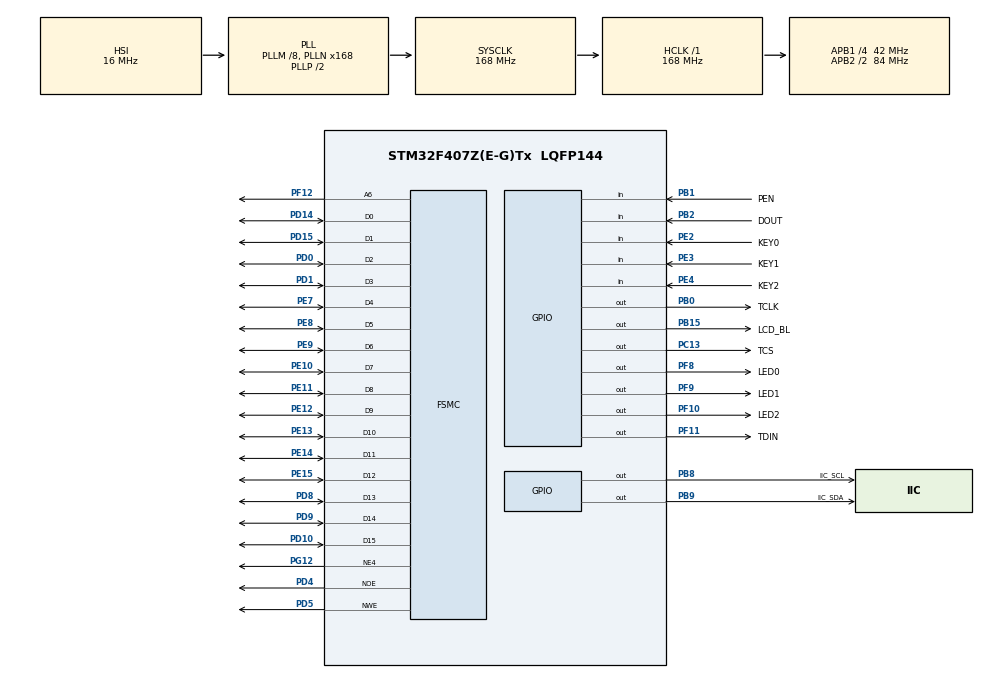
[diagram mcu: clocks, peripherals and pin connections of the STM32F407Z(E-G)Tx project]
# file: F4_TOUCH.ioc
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Mcu.Family=STM32F4
FSMC.AddressSetupTime1=0x0f
PE7.GPIO_PuPd=GPIO_PULLUP
PH0-OSC_IN.Signal=RCC_OSC_IN
PF10.GPIO_ModeDefaultOutputPP=GPIO_MODE_OUTPUT_PP
RCC.CortexFreq_Value=168000000
SH.FSMC_D1_DA1.0=FSMC_D1,16b-d1
SH.FSMC_A6.0=FSMC_A6,A6_1
SH.FSMC_NWE.0=FSMC_NWE,Lcd1
PE8.GPIO_PuPd=GPIO_PULLUP
SH.FSMC_D0_DA0.0=FSMC_D0,16b-d1
PE10.GPIO_PuPd=GPIO_PULLUP
PF9.GPIO_Speed=GPIO_SPEED_FREQ_VERY_HIGH
PB0.GPIO_Label=TCLK
PD10.GPIO_PuPd=GPIO_PULLUP
FSMC.ExtendedBusTurnAroundDuration1=0
PD8.GPIO_PuPd=GPIO_PULLUP
PF10.GPIO_PuPd=GPIO_PULLUP
PB15.Signal=GPIO_Output
PF8.PinState=GPIO_PIN_SET
RCC.SYSCLKSource=RCC_SYSCLKSOURCE_PLLCLK
ProjectManager.StackSize=0x400
PE11.GPIO_PuPd=GPIO_PULLUP
PB1.GPIO_PuPd=GPIO_PULLUP
RCC.HCLKFreq_Value=168000000
PD4.Signal=FSMC_NOE
RCC.APB2TimFreq_Value=168000000
PF11.GPIO_Label=TDIN
PF12.Signal=FSMC_A6
PD0.Signal=FSMC_D2_DA2
PD8.Signal=FSMC_D13_DA13
PF10.GPIO_Label=LED2
RCC.AHBFreq_Value=168000000
PH0-OSC_IN.Mode=HSE-External-Oscillator
RCC.HSE_VALUE=25000000
PB2.Signal=GPIO_Input
PC13-ANTI_TAMP.Signal=GPIO_Output
PE13.GPIO_PuPd=GPIO_PULLUP
PE13.Signal=FSMC_D10_DA10
SH.FSMC_D14_DA14.0=FSMC_D14,16b-d1
SH.FSMC_D10_DA10.0=FSMC_D10,16b-d1
PF8.GPIO_ModeDefaultOutputPP=GPIO_MODE_OUTPUT_PP
PF8.GPIO_PuPd=GPIO_PULLUP
PE9.Signal=FSMC_D6_DA6
PA14.Mode=Serial_Wire
PF11.Signal=GPIO_Output
PB1.GPIO_Label=PEN
SH.FSMC_D6_DA6.0=FSMC_D6,16b-d1
PE4.GPIO_Label=KEY2
PE2.Signal=GPIO_Input
PD14.GPIO_PuPd=GPIO_PULLUP
FSMC.BusTurnAroundDuration1=0
PE4.Signal=GPIO_Input
PE10.Signal=FSMC_D7_DA7
SH.FSMC_D5_DA5.0=FSMC_D5,16b-d1
PB2.GPIO_PuPd=GPIO_PULLUP
SH.FSMC_D4_DA4.0=FSMC_D4,16b-d1
PH1-OSC_OUT.Mode=HSE-External-Oscillator
Mcu.Package=LQFP144
PB9.Signal=GPIO_Output
PB1.Signal=GPIO_Input
PB15.GPIO_PuPd=GPIO_PULLUP
PD15.GPIO_PuPd=GPIO_PULLUP
SH.FSMC_D13_DA13.0=FSMC_D13,16b-d1
PB9.GPIO_PuPd=GPIO_PULLUP
PF8.Signal=GPIO_Output
RCC.APB2CLKDivider=RCC_HCLK_DIV2
PB9.GPIO_Speed=GPIO_SPEED_FREQ_VERY_HIGH
SH.FSMC_D3_DA3.0=FSMC_D3,16b-d1
PG12.GPIO_PuPd=GPIO_PULLUP
RCC.APB1TimFreq_Value=84000000
SH.FSMC_D2_DA2.0=FSMC_D2,16b-d1
PE7.Signal=FSMC_D4_DA4
PF9.GPIO_PuPd=GPIO_PULLUP
PD9.GPIO_PuPd=GPIO_PULLUP
PE2.GPIO_Label=KEY0
PD15.Signal=FSMC_D1_DA1
PE12.GPIO_PuPd=GPIO_PULLUP
PG12.Signal=FSMC_NE4
FSMC.ExtendedAddressSetupTime1=9
SH.FSMC_D12_DA12.0=FSMC_D12,16b-d1
PB9.GPIO_Label=IIC_SDA
PC13-ANTI_TAMP.GPIO_Label=TCS
FSMC.ExtendedMode1=FSMC_EXTENDED_MODE_ENABLE
PB8.GPIO_PuPd=GPIO_PULLUP
PF10.GPIO_Speed=GPIO_SPEED_FREQ_VERY_HIGH
PD1.Signal=FSMC_D3_DA3
SH.FSMC_D9_DA9.0=FSMC_D9,16b-d1
PD9.Signal=FSMC_D14_DA14
PD5.Signal=FSMC_NWE
PD1.GPIO_PuPd=GPIO_PULLUP
RCC.APB1CLKDivider=RCC_HCLK_DIV4
SH.FSMC_D8_DA8.0=FSMC_D8,16b-d1
PF8.GPIO_Label=LED0
PB0.GPIO_Speed=GPIO_SPEED_FREQ_VERY_HIGH
PF11.GPIO_Speed=GPIO_SPEED_FREQ_VERY_HIGH
PD10.Signal=FSMC_D15_DA15
PA13.Signal=SYS_JTMS-SWDIO
PB8.GPIO_Label=IIC_SCL
PD4.GPIO_PuPd=GPIO_PULLUP
ProjectManager.TargetToolchain=STM32CubeIDE
FSMC.DataSetupTime1=60
PF9.PinState=GPIO_PIN_SET
PB1.GPIO_Mode=GPIO_MODE_INPUT
PF9.GPIO_Label=LED1
PE11.Signal=FSMC_D8_DA8
RCC.LSE_VALUE=32768
PE2.GPIO_PuPd=GPIO_PULLUP
SH.FSMC_D7_DA7.0=FSMC_D7,16b-d1
FSMC.ExtendedDataSetupTime1=8
board=custom
PG12.Mode=NorPsramChipSelect4_1
RCC.VCOOutputFreq_Value=336000000
RCC.APB2Freq_Value=84000000
PE14.Signal=FSMC_D11_DA11
PE15.Signal=FSMC_D12_DA12
PB15.GPIO_Label=LCD_BL
PE8.Signal=FSMC_D5_DA5
PF10.Signal=GPIO_Output
PB15.GPIO_Speed=GPIO_SPEED_FREQ_MEDIUM
PH1-OSC_OUT.Signal=RCC_OSC_OUT
PE3.GPIO_PuPd=GPIO_PULLUP
PD5.GPIO_PuPd=GPIO_PULLUP
PE14.GPIO_PuPd=GPIO_PULLUP
PA13.Mode=Serial_Wire
Mcu.Name=STM32F407Z(E-G)Tx
PE12.Signal=FSMC_D9_DA9
PE4.GPIO_PuPd=GPIO_PULLUP
PD14.Signal=FSMC_D0_DA0
RCC.48MHZClocksFreq_Value=84000000
RCC.SYSCLKFreq_VALUE=168000000
SH.FSMC_D15_DA15.0=FSMC_D15,16b-d1
PA14.Signal=SYS_JTCK-SWCLK
PB2.GPIO_Label=DOUT
PE15.GPIO_PuPd=GPIO_PULLUP
ProjectManager.HeapSize=0x200
SH.FSMC_D11_DA11.0=FSMC_D11,16b-d1
PD0.GPIO_PuPd=GPIO_PULLUP
SH.FSMC_NOE.0=FSMC_NOE,Lcd1
PF9.Signal=GPIO_Output
RCC.HSI_VALUE=16000000
PF9.GPIO_ModeDefaultOutputPP=GPIO_MODE_OUTPUT_PP
NVIC.PriorityGroup=NVIC_PRIORITYGROUP_4
RCC.PLLM=8
RCC.PLLN=168
PF8.GPIO_Speed=GPIO_SPEED_FREQ_VERY_HIGH
PE3.Signal=GPIO_Input
PF12.GPIO_PuPd=GPIO_PULLUP
PB8.Signal=GPIO_Output
PE3.GPIO_Label=KEY1
RCC.APB1Freq_Value=42000000
PB8.GPIO_Speed=GPIO_SPEED_FREQ_VERY_HIGH
PF10.PinState=GPIO_PIN_SET
PB0.Signal=GPIO_Output
PB0.GPIO_PuPd=GPIO_PULLUP
PE9.GPIO_PuPd=GPIO_PULLUP

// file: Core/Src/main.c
/* USER CODE BEGIN Header */
/**
  ******************************************************************************
  * @file           : main.c
  * @brief          : Main program body
  ******************************************************************************
  * @attention
  *
  * <h2><center>&copy; Copyright (c) 2021 STMicroelectronics.
  * All rights reserved.</center></h2>
  *
  * This software component is licensed by ST under BSD 3-Clause license,
  * the "License"; You may not use this file except in compliance with the
  * License. You may obtain a copy of the License at:
  *                        opensource.org/licenses/BSD-3-Clause
  *
  ******************************************************************************
  */
/* USER CODE END Header */
#include "main.h"
#include "gpio.h"
#include "fsmc.h"

/* USER CODE BEGIN Includes */
#include "base.h"
#include "lcd.h"
#include "touch.h"
/* USER CODE END Includes */

void SystemClock_Config(void);
/* USER CODE BEGIN PFP */
void Load_Drow_Dialog(void)
{
	LCD_Clear(WHITE);
 	POINT_COLOR=BLUE;
	LCD_ShowString(lcddev.width-24,0,200,16,16,"RST");
  	POINT_COLOR=RED;
}

void gui_draw_hline(u16 x0,u16 y0,u16 len,u16 color)
{
	if(len==0)return;
	LCD_Fill(x0,y0,x0+len-1,y0,color);
}

void gui_fill_circle(u16 x0,u16 y0,u16 r,u16 color)
{
	u32 i;
	u32 imax = ((u32)r*707)/1000+1;
	u32 sqmax = (u32)r*(u32)r+(u32)r/2;
	u32 x=r;
	gui_draw_hline(x0-r,y0,2*r,color);
	for (i=1;i<=imax;i++)
	{
		if ((i*i+x*x)>sqmax)// draw lines from outside
		{
 			if (x>imax)
			{
				gui_draw_hline (x0-i+1,y0+x,2*(i-1),color);
				gui_draw_hline (x0-i+1,y0-x,2*(i-1),color);
			}
			x--;
		}
		// draw lines from inside (center)
		gui_draw_hline(x0-x,y0+i,2*x,color);
		gui_draw_hline(x0-x,y0-i,2*x,color);
	}
}

u16 my_abs(u16 x1,u16 x2)
{
	if(x1>x2)return x1-x2;
	else return x2-x1;
}

void lcd_draw_bline(u16 x1, u16 y1, u16 x2, u16 y2,u8 size,u16 color)
{
	u16 t;
	int xerr=0,yerr=0,delta_x,delta_y,distance;
	int incx,incy,uRow,uCol;
	if(x1<size|| x2<size||y1<size|| y2<size)return;
	delta_x=x2-x1;
	delta_y=y2-y1;
	uRow=x1;
	uCol=y1;
	if(delta_x>0)incx=1;
	else if(delta_x==0)incx=0;
	else {incx=-1;delta_x=-delta_x;}
	if(delta_y>0)incy=1;
	else if(delta_y==0)incy=0;
	else{incy=-1;delta_y=-delta_y;}
	if( delta_x>delta_y)distance=delta_x;
	else distance=delta_y;
	for(t=0;t<=distance+1;t++ )
	{
		gui_fill_circle(uRow,uCol,size,color);
		xerr+=delta_x ;
		yerr+=delta_y ;
		if(xerr>distance)
		{
			xerr-=distance;
			uRow+=incx;
		}
		if(yerr>distance)
		{
			yerr-=distance;
			uCol+=incy;
		}
	}
}

const u16 POINT_COLOR_TBL[OTT_MAX_TOUCH]={RED,GREEN,BLUE,BROWN,GRED};
void rtp_test(void)
{
	u8 key;
	u8 i=0;
	while(1)
	{
	 	key=KEY_Scan(0);
		tp_dev.scan(0);
		if(tp_dev.sta&TP_PRES_DOWN)
		{
		 	if(tp_dev.x[0]<lcddev.width&&tp_dev.y[0]<lcddev.height)
			{
				if(tp_dev.x[0]>(lcddev.width-24)&&tp_dev.y[0]<16)Load_Drow_Dialog();
				else TP_Draw_Big_Point(tp_dev.x[0],tp_dev.y[0],RED);
			}
		}else delay_ms(10);
		if(key==KEY0_PRES)
		{
			LCD_Clear(WHITE);
		    TP_Adjust();
			TP_Save_Adjdata();
			Load_Drow_Dialog();
		}
		i++;
		if(i%20==0)LED0_T;
	}
}
void ctp_test(void)
{
	u8 t=0;
	u8 i=0;
 	u16 lastpos[5][2];
	while(1)
	{
		tp_dev.scan(0);
		for(t=0;t<5;t++)
		{
			if((tp_dev.sta)&(1<<t))
			{
				if(tp_dev.x[t]<lcddev.width&&tp_dev.y[t]<lcddev.height)
				{
					if(lastpos[t][0]==0XFFFF)
					{
						lastpos[t][0] = tp_dev.x[t];
						lastpos[t][1] = tp_dev.y[t];
					}
					lcd_draw_bline(lastpos[t][0],lastpos[t][1],tp_dev.x[t],tp_dev.y[t],2,POINT_COLOR_TBL[t]);//闁汇垼宕甸崵�??
					lastpos[t][0]=tp_dev.x[t];
					lastpos[t][1]=tp_dev.y[t];
					if(tp_dev.x[t]>(lcddev.width-24)&&tp_dev.y[t]<20)
					{
						Load_Drow_Dialog();
					}
				}
			}else lastpos[t][0]=0XFFFF;
		}

		delay_ms(5);i++;
		if(i%20==0)LED0_T;
	}
}
/* USER CODE END PFP */

int main(void)
{

  /* MCU Configuration--------------------------------------------------------*/

  /* Reset of all peripherals, Initializes the Flash interface and the Systick. */
  HAL_Init();

  /* Configure the system clock */
  SystemClock_Config();

  /* Initialize all configured peripherals */
  MX_GPIO_Init();
  MX_FSMC_Init();
  /* USER CODE BEGIN 2 */
  delay_init(168);
  LCD_Init();
  tp_dev.init();

  POINT_COLOR=RED;
  LCD_ShowString(30,40,210,24,24,(uint8_t *)"MINI STM32F4");
  LCD_ShowString(30,70,200,16,16,(uint8_t *)"TFTLCD TEST");
  LCD_ShowString(30,90,200,16,16,(uint8_t *)"ATOM@ALIENTEK");
  LCD_ShowString(30,110,200,16,16,(uint8_t *)"The First Test");
  LCD_ShowString(30,130,200,12,12,(uint8_t *)"2021/4/8");

  if(tp_dev.touchtype!=0XFF)LCD_ShowString(30,130,200,16,16,"Press KEY0 to Adjust");
  delay_ms(1500);
  Load_Drow_Dialog();

  if(tp_dev.touchtype&0X80)ctp_test();
  else rtp_test();
  /* USER CODE END 2 */

  /* Infinite loop */
  while (1)
  {

  }
}

void SystemClock_Config(void)
{
  RCC_OscInitTypeDef RCC_OscInitStruct = {0};
  RCC_ClkInitTypeDef RCC_ClkInitStruct = {0};

  /** Configure the main internal regulator output voltage
  */
  __HAL_RCC_PWR_CLK_ENABLE();
  __HAL_PWR_VOLTAGESCALING_CONFIG(PWR_REGULATOR_VOLTAGE_SCALE1);
  /** Initializes the RCC Oscillators according to the specified parameters
  * in the RCC_OscInitTypeDef structure.
  */
  RCC_OscInitStruct.OscillatorType = RCC_OSCILLATORTYPE_HSI;
  RCC_OscInitStruct.HSIState = RCC_HSI_ON;
  RCC_OscInitStruct.HSICalibrationValue = RCC_HSICALIBRATION_DEFAULT;
  RCC_OscInitStruct.PLL.PLLState = RCC_PLL_ON;
  RCC_OscInitStruct.PLL.PLLSource = RCC_PLLSOURCE_HSI;
  RCC_OscInitStruct.PLL.PLLM = 8;
  RCC_OscInitStruct.PLL.PLLN = 168;
  RCC_OscInitStruct.PLL.PLLP = RCC_PLLP_DIV2;
  RCC_OscInitStruct.PLL.PLLQ = 4;
  if (HAL_RCC_OscConfig(&RCC_OscInitStruct) != HAL_OK)
  {
    Error_Handler();
  }
  /** Initializes the CPU, AHB and APB buses clocks
  */
  RCC_ClkInitStruct.ClockType = RCC_CLOCKTYPE_HCLK|RCC_CLOCKTYPE_SYSCLK
                              |RCC_CLOCKTYPE_PCLK1|RCC_CLOCKTYPE_PCLK2;
  RCC_ClkInitStruct.SYSCLKSource = RCC_SYSCLKSOURCE_PLLCLK;
  RCC_ClkInitStruct.AHBCLKDivider = RCC_SYSCLK_DIV1;
  RCC_ClkInitStruct.APB1CLKDivider = RCC_HCLK_DIV4;
  RCC_ClkInitStruct.APB2CLKDivider = RCC_HCLK_DIV2;

  if (HAL_RCC_ClockConfig(&RCC_ClkInitStruct, FLASH_LATENCY_5) != HAL_OK)
  {
    Error_Handler();
  }
}

void Error_Handler(void)
{
  __disable_irq();
  while (1)
  {
  }
}

/************************ (C) COPYRIGHT STMicroelectronics *****END OF FILE****/
